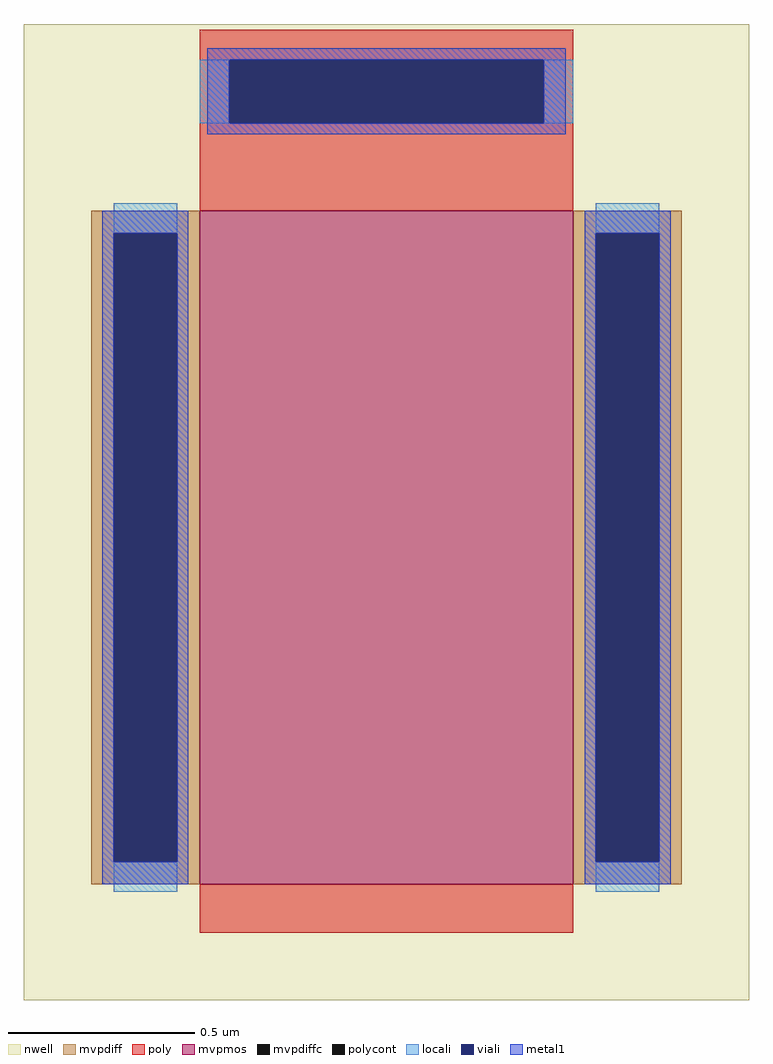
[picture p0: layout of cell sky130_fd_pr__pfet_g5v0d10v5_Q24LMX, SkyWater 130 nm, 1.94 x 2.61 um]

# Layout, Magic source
magic
tech sky130A
magscale 1 2
<< nwell >>
rect -194 -278 194 244
<< mvpmos >>
rect -100 -216 100 144
<< mvpdiff >>
rect -158 132 -100 144
rect -158 -204 -146 132
rect -112 -204 -100 132
rect -158 -216 -100 -204
rect 100 132 158 144
rect 100 -204 112 132
rect 146 -204 158 132
rect 100 -216 158 -204
<< mvpdiffc >>
rect -146 -204 -112 132
rect 112 -204 146 132
<< poly >>
rect -100 225 100 241
rect -100 191 -84 225
rect 84 191 100 225
rect -100 144 100 191
rect -100 -242 100 -216
<< polycont >>
rect -84 191 84 225
<< locali >>
rect -100 191 -84 225
rect 84 191 100 225
rect -146 132 -112 148
rect -146 -220 -112 -204
rect 112 132 146 148
rect 112 -220 146 -204
<< viali >>
rect -84 191 84 225
rect -146 -204 -112 132
rect 112 -204 146 132
<< metal1 >>
rect -96 225 96 231
rect -96 191 -84 225
rect 84 191 96 225
rect -96 185 96 191
rect -152 132 -106 144
rect -152 -204 -146 132
rect -112 -204 -106 132
rect -152 -216 -106 -204
rect 106 132 152 144
rect 106 -204 112 132
rect 146 -204 152 132
rect 106 -216 152 -204
<< properties >>
string gencell sky130_fd_pr__pfet_g5v0d10v5
string library sky130
string parameters w 1.8 l 1 m 1 nf 1 diffcov 100 polycov 100 guard 0 glc 1 grc 1 gtc 1 gbc 1 tbcov 100 rlcov 100 topc 1 botc 0 poverlap 0 doverlap 1 lmin 0.50 wmin 0.42 compatible {sky130_fd_pr__pfet_01v8  sky130_fd_pr__pfet_01v8_lvt sky130_fd_pr__pfet_01v8_hvt  sky130_fd_pr__pfet_g5v0d10v5} full_metal 1 viasrc 100 viadrn 100 viagate 100 viagb 0 viagr 0 viagl 0 viagt 0
<< end >>
